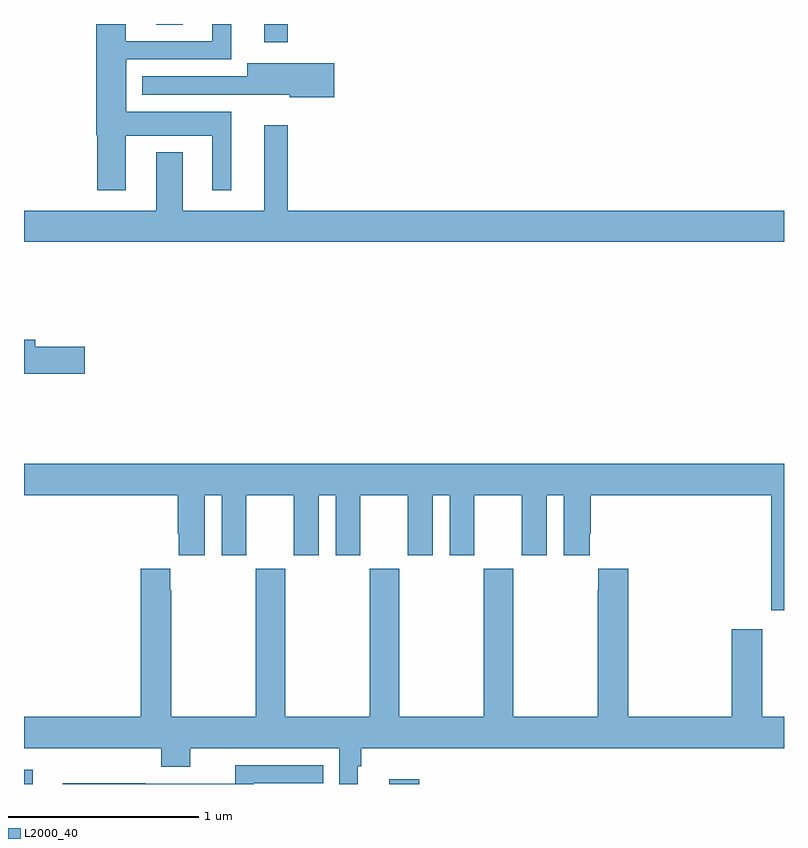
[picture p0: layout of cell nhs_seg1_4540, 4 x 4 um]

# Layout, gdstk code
import gdstk
lib = gdstk.Library(unit=1e-6, precision=1e-09)
def R(c, l, rs):  # rectangles x0, y0, x1, y1
    for r in rs: c.add(gdstk.rectangle(r[:2], r[2:], *l))
def P(c, l, *ps):  # polygons
    for p in ps: c.add(gdstk.Polygon(p, *l))
L2000_40 = (2000, 40)

nhs_seg1_4540 = lib.new_cell('nhs_seg1_4540')
R(nhs_seg1_4540, L2000_40, [(357,562.199,357.047,562.273), (358.922,562.199,359.081,562.225), (358.265,566.103,358.387,566.199), (357.695,566.194,357.835,566.199)])
P(nhs_seg1_4540, L2000_40, [(357.535,565.61),(357.992,565.61),(357.992,565.323),(358.09,565.323),(358.09,565.738),(357.538,565.738),(357.538,566.013),(358.09,566.013),(358.09,566.199),(357.992,566.199),(357.992,566.109),(357.535,566.109),(357.535,566.199),(357.38,566.199),(357.38,565.614),(357.385,565.614),(357.385,565.323),(357.535,565.323)],
  [(358.633,565.992),(358.175,565.992),(358.175,565.923),(357.623,565.923),(357.623,565.827),(358.179,565.827),(358.179,565.826),(358.398,565.826),(358.398,565.814),(358.633,565.814)],
  [(361,565.216),(358.387,565.216),(358.387,565.666),(358.265,565.666),(358.265,565.216),(357.835,565.216),(357.835,565.525),(357.695,565.525),(357.695,565.216),(357,565.216),(357,565.052),(361,565.052)],
  [(357.319,564.5),(357.058,564.5),(357.058,564.536),(357,564.536),(357,564.358),(357.319,564.358)],
  [(361,563.884),(357,563.884),(357,563.72),(357.809,563.72),(357.809,563.515),(357.815,563.515),(357.815,563.403),(357.952,563.403),(357.952,563.72),(358.04,563.72),(358.04,563.403),(358.171,563.403),(358.171,563.72),(358.421,563.72),(358.421,563.403),(358.552,563.403),(358.552,563.72),(358.64,563.72),(358.64,563.403),(358.771,563.403),(358.771,563.72),(359.021,563.72),(359.021,563.403),(359.152,563.403),(359.152,563.72),(359.24,563.72),(359.24,563.403),(359.371,563.403),(359.371,563.72),(359.621,563.72),(359.621,563.403),(359.752,563.403),(359.752,563.72),(359.84,563.72),(359.84,563.403),(359.977,563.403),(359.977,563.515),(359.984,563.515),(359.984,563.72),(360.932,563.72),(360.932,563.114),(361,563.114)],
  [(358.756,562.292),(358.775,562.292),(358.775,562.388),(361,562.388),(361,562.552),(360.885,562.552),(360.885,563.014),(360.725,563.014),(360.725,562.552),(360.179,562.552),(360.179,563.332),(360.023,563.332),(360.023,563.219),(360.019,563.219),(360.019,562.552),(359.574,562.552),(359.574,563.332),(359.419,563.332),(359.419,562.552),(358.974,562.552),(358.974,563.332),(358.819,563.332),(358.819,562.552),(358.374,562.552),(358.374,563.332),(358.219,563.332),(358.219,562.552),(357.774,562.552),(357.774,563.219),(357.769,563.219),(357.769,563.332),(357.614,563.332),(357.614,562.552),(357,562.552),(357,562.388),(357.722,562.388),(357.722,562.289),(357.874,562.289),(357.874,562.388),(358.659,562.388),(358.659,562.199),(358.756,562.199)],
  [(358.21,562.203),(358.574,562.203),(358.574,562.299),(358.111,562.299),(358.111,562.2),(357.638,562.2),(357.638,562.202),(357.204,562.202),(357.204,562.199),(358.21,562.199)])

lib.write_gds('nhs_seg1_4540.gds')
